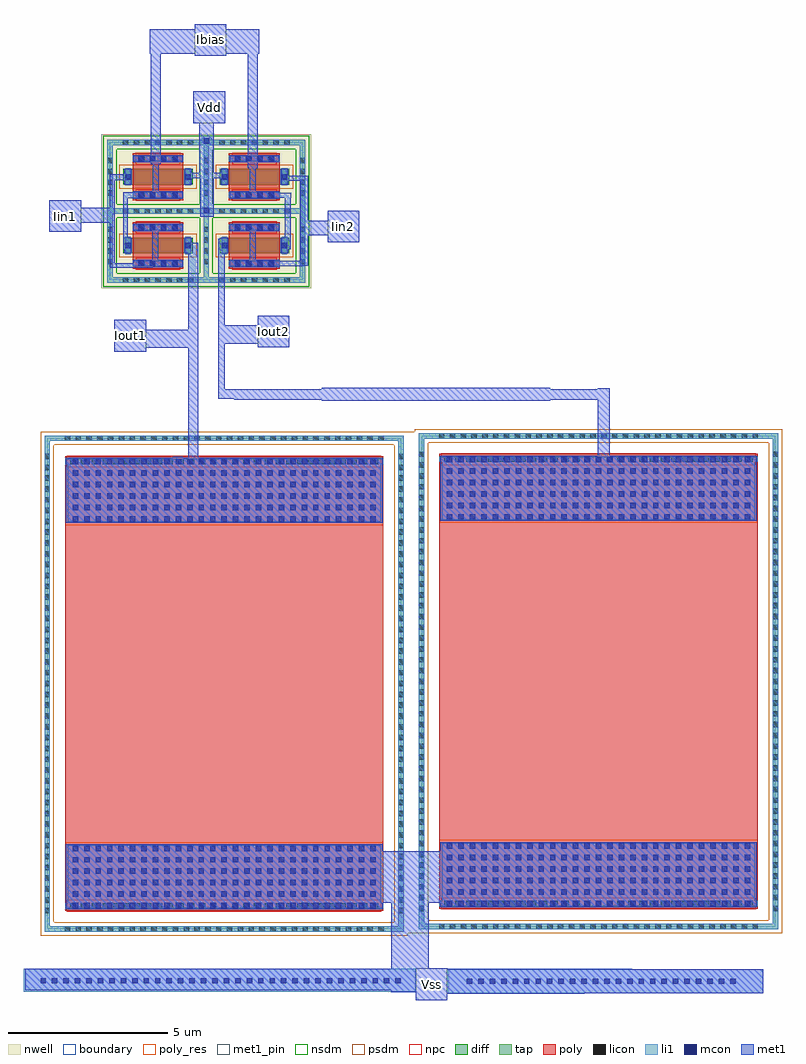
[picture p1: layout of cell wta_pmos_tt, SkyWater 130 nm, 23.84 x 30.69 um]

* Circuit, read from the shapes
.subckt wta_pmos_tt Ibias Iin1 Iin2 Iout1 Iout2 Vdd Vss
XM1 Iout1 Iin1 Ibias Vdd sky130_fd_pr__pfet_01v8 w=0.5 l=1.6
XM2 Vdd Ibias Iin1 Vdd sky130_fd_pr__pfet_01v8 w=0.5 l=1.6
XM3 Ibias Iin2 Iout2 Vdd sky130_fd_pr__pfet_01v8 w=0.5 l=1.6
XM4 Iin2 Ibias Vdd Vdd sky130_fd_pr__pfet_01v8 w=0.5 l=1.6
R5 Iout1 Vss sky130_fd_pr__res_generic_po w=10 l=10
R6 Iout2 Vss sky130_fd_pr__res_generic_po w=10 l=10
.ends

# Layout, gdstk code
import gdstk
lib = gdstk.Library(unit=1e-6, precision=1e-09)
def R(c, l, rs):  # rectangles x0, y0, x1, y1
    for r in rs: c.add(gdstk.rectangle(r[:2], r[2:], *l))
def A(c, l, x, y, w, h, nx, ny, dx, dy):  # array of equal rectangles
    R(c, l, [(x+i*dx, y+j*dy, x+i*dx+w, y+j*dy+h) for i in range(nx) for j in range(ny)])
nwell = (64, 20)
diff = (65, 20)
tap = (65, 44)
poly_res = (66, 13)
poly = (66, 20)
licon = (66, 44)
li1 = (67, 20)
mcon = (67, 44)
met1_pin = (68, 16)
met1 = (68, 20)
nsdm = (93, 44)
psdm = (94, 20)
npc = (95, 20)
boundary = (235, 4)

sky130_fd_pr__pfet_01v8_ = lib.new_cell('sky130_fd_pr__pfet_01v8_CQSSBJ')
R(sky130_fd_pr__pfet_01v8_, nwell, [(-1.78,-1.345,1.78,1.345)])
R(sky130_fd_pr__pfet_01v8_, diff, [(-1.09,-0.25,1.09,0.25)])
R(sky130_fd_pr__pfet_01v8_, tap, [(-1.6,-1.165,1.6,-0.995), (-1.6,-0.995,-1.43,0.995), (1.43,-0.995,1.6,0.995), (-1.6,0.995,1.6,1.165)])
R(sky130_fd_pr__pfet_01v8_, poly, [(-0.8,-0.735,0.8,0.735)])
A(sky130_fd_pr__pfet_01v8_, licon, -1.105, -1.165, 0.17, 0.17, 7, 2, 0.34, 2.16)
A(sky130_fd_pr__pfet_01v8_, licon, -0.595, -0.655, 0.17, 0.17, 4, 2, 0.34, 1.14)
A(sky130_fd_pr__pfet_01v8_, licon, -1.6, -0.595, 0.17, 0.17, 1, 4, 0, 0.34)
A(sky130_fd_pr__pfet_01v8_, licon, 1.43, -0.595, 0.17, 0.17, 1, 4, 0, 0.34)
R(sky130_fd_pr__pfet_01v8_, licon, [(-1.03,-0.085,-0.86,0.085), (0.86,-0.085,1.03,0.085)])
R(sky130_fd_pr__pfet_01v8_, li1, [(-1.6,-1.165,1.6,-0.995), (-1.6,-0.995,-1.43,0.995), (1.43,-0.995,1.6,0.995), (-0.8,-0.655,0.8,-0.485), (-1.03,-0.27,-0.86,0.27), (0.86,-0.27,1.03,0.27), (-0.8,0.485,0.8,0.655), (-1.6,0.995,1.6,1.165)])
A(sky130_fd_pr__pfet_01v8_, mcon, -0.625, -0.655, 0.17, 0.17, 4, 2, 0.36, 1.14)
R(sky130_fd_pr__pfet_01v8_, mcon, [(-1.03,-0.085,-0.86,0.085), (0.86,-0.085,1.03,0.085)])
R(sky130_fd_pr__pfet_01v8_, met1, [(-0.78,-0.685,0.78,-0.455), (-1.06,-0.25,-0.83,0.25), (0.83,-0.25,1.06,0.25), (-0.78,0.455,0.78,0.685)])
R(sky130_fd_pr__pfet_01v8_, nsdm, [(-1.725,-1.29,1.725,-0.87), (-1.725,-0.87,-1.305,0.87), (1.305,-0.87,1.725,0.87), (-1.725,0.87,1.725,1.29)])
R(sky130_fd_pr__pfet_01v8_, psdm, [(-1.215,-0.375,1.215,0.375)])
R(sky130_fd_pr__pfet_01v8_, npc, [(-0.695,-0.755,0.695,-0.385), (-0.695,0.385,0.695,0.755)])
R(sky130_fd_pr__pfet_01v8_, boundary, [(-1.515,-1.08,1.515,1.08)])

sky130_fd_pr__res_generi = lib.new_cell('sky130_fd_pr__res_generic_po_F4UD2D')
R(sky130_fd_pr__res_generi, tap, [(-5.65,-7.8,5.65,-7.63), (-5.65,-7.63,-5.48,7.63), (5.48,-7.63,5.65,7.63), (-5.65,7.63,5.65,7.8)])
R(sky130_fd_pr__res_generi, poly_res, [(-5,-5,5,5)])
R(sky130_fd_pr__res_generi, poly, [(-5,-7.15,5,7.15)])
A(sky130_fd_pr__res_generi, licon, -5.015, -7.8, 0.17, 0.17, 30, 2, 0.34, 15.43)
A(sky130_fd_pr__res_generi, licon, -5.65, -7.225, 0.17, 0.17, 1, 43, 0, 0.34)
A(sky130_fd_pr__res_generi, licon, 5.48, -7.225, 0.17, 0.17, 1, 43, 0, 0.34)
A(sky130_fd_pr__res_generi, licon, -4.845, -7.07, 0.17, 0.17, 29, 2, 0.34, 13.97)
R(sky130_fd_pr__res_generi, li1, [(-5.65,-7.8,5.65,-7.63), (-5.65,-7.63,-5.48,7.63), (5.48,-7.63,5.65,7.63), (-5,-7.07,5,-6.9), (-4.92,-6.9,4.92,-5.085), (-4.92,5.085,4.92,6.9), (-5,6.9,5,7.07), (-5.65,7.63,5.65,7.8)])
A(sky130_fd_pr__res_generi, mcon, -4.765, -7.065, 0.17, 0.17, 27, 6, 0.36, 0.36)
A(sky130_fd_pr__res_generi, mcon, -4.765, 5.09, 0.17, 0.17, 27, 6, 0.36, 0.36)
R(sky130_fd_pr__res_generi, met1, [(-4.98,-7.1,4.98,-5.055), (-4.98,5.055,4.98,7.1)])
R(sky130_fd_pr__res_generi, psdm, [(-5.775,-7.925,5.775,-7.505), (-5.775,-7.505,-5.355,7.505), (5.355,-7.505,5.775,7.505), (-5.775,7.505,5.775,7.925)])
R(sky130_fd_pr__res_generi, npc, [(-4.945,-7.17,4.945,-6.8), (-4.945,6.8,4.945,7.17)])
R(sky130_fd_pr__res_generi, boundary, [(-5.565,-7.715,5.565,7.715)])

wta_pmos_tt = lib.new_cell('wta_pmos_tt')
R(wta_pmos_tt, li1, [(17.64,-24.33,27.54,-23.58), (4.29,-24.28,16.62,-23.56), (9.9,0.2,10.16,0.37), (9.88,2.36,10.2,2.57)])
A(wta_pmos_tt, mcon, 18.22, -24.035, 0.17, 0.17, 24, 1, 0.36, 0)
A(wta_pmos_tt, mcon, 4.815, -24.02, 0.17, 0.17, 32, 1, 0.36, 0)
R(wta_pmos_tt, mcon, [(9.945,0.2,10.115,0.37), (9.955,2.38,10.125,2.55)])
R(wta_pmos_tt, met1_pin, [(16.61,-24.54,17.61,-23.54), (7.14,-4.15,8.14,-3.15), (11.64,-4.02,12.64,-3.02), (13.84,-0.72,14.84,0.28), (5.09,-0.39,6.09,0.61), (9.62,3.03,10.62,4.03), (9.66,5.15,10.66,6.15)])
R(wta_pmos_tt, met1, [(16.61,-24.54,17.61,-24.35), (16.61,-24.35,21.91,-24.33), (16.61,-24.33,27.54,-24.29), (15.85,-24.29,27.54,-24.24), (4.33,-24.24,27.54,-23.57), (4.33,-23.57,23.4,-23.55), (15.85,-23.55,17.61,-23.54), (15.85,-23.54,17.03,-21.48), (14.66,-21.48,24.56,-19.86), (9.46,-8.66,9.77,-4.03), (8.97,-8.59,9.28,-7.45), (22.33,-8.09,22.72,-5.66), (13.65,-5.69,20.85,-5.66), (10.91,-5.66,22.72,-5.64), (10.4,-5.64,22.72,-5.33), (10.4,-5.33,10.6,-3.9), (13.65,-5.33,20.85,-5.29), (22.33,-5.33,22.72,-5.3), (7.14,-4.15,8.14,-4.03), (7.14,-4.03,9.77,-3.46), (11.64,-4.02,12.64,-3.9), (10.4,-3.9,12.64,-3.33), (7.14,-3.46,8.14,-3.15), (9.46,-3.46,9.77,-0.73), (10.4,-3.33,10.6,-0.61), (11.64,-3.33,12.64,-3.02), (6.99,-1.51,8.35,-1.41), (12.23,-1.46,13.05,-1.45), (12.23,-1.45,13.23,-1.3), (6.99,-1.41,8.51,-1.37), (6.99,-1.37,7.15,-0.1), (8.32,-1.37,8.51,-0.27), (11.39,-1.36,11.58,-0.22), (12.98,-1.3,13.23,-0.5), (12.5,-0.94,12.68,0.68), (7.41,-0.92,7.56,0.67), (13.84,-0.72,14.84,-0.5), (12.98,-0.5,14.84,-0.03), (5.09,-0.39,6.09,-0.1), (5.09,-0.1,7.15,0.37), (12.98,-0.03,13.23,1.22), (13.84,-0.03,14.84,0.28), (9.83,0.09,10.26,1.3), (5.09,0.37,6.09,0.61), (6.99,0.37,7.15,1.23), (7.41,0.67,8.57,0.86), (11.88,0.68,12.7,0.84), (11.4,0.73,11.59,1.62), (8.34,0.86,8.53,1.74), (12.52,1.22,13.23,1.23), (6.99,1.23,7.65,1.43), (12.46,1.23,13.23,1.36), (9.41,1.3,10.58,1.47), (12.52,1.36,13.23,1.38), (9.81,1.47,10.26,3.03), (11.33,1.62,11.65,5.21), (8.28,1.74,8.6,5.21), (9.62,3.03,10.62,4.03), (9.66,5.15,10.66,5.21), (8.25,5.21,11.69,5.99), (9.66,5.99,10.66,6.15)])
R(wta_pmos_tt, psdm, [(16.365,-22.445,16.585,-6.665)])
wta_pmos_tt.add(gdstk.Reference(sky130_fd_pr__pfet_01v8_, (8.51,-0.815)))
wta_pmos_tt.add(gdstk.Reference(sky130_fd_pr__pfet_01v8_, (11.54,1.345)))
wta_pmos_tt.add(gdstk.Reference(sky130_fd_pr__pfet_01v8_, (11.54,-0.815)))
wta_pmos_tt.add(gdstk.Reference(sky130_fd_pr__pfet_01v8_, (8.51,1.345)))
wta_pmos_tt.add(gdstk.Reference(sky130_fd_pr__res_generi, (10.59,-14.59)))
wta_pmos_tt.add(gdstk.Reference(sky130_fd_pr__res_generi, (22.36,-14.52)))
wta_pmos_tt.add(gdstk.Label('Vdd', (10.12,3.53), layer=68, texttype=5))
wta_pmos_tt.add(gdstk.Label('Vss', (17.11,-24.04), layer=68, texttype=5))
wta_pmos_tt.add(gdstk.Label('Iout1', (7.64,-3.65), layer=68, texttype=5))
wta_pmos_tt.add(gdstk.Label('Iout2', (12.14,-3.52), layer=68, texttype=5))
wta_pmos_tt.add(gdstk.Label('Iin1', (5.59,0.11), layer=68, texttype=5))
wta_pmos_tt.add(gdstk.Label('Iin2', (14.34,-0.22), layer=68, texttype=5))
wta_pmos_tt.add(gdstk.Label('Ibias', (10.16,5.65), layer=68, texttype=5))

lib.write_gds('wta_pmos_tt.gds')
